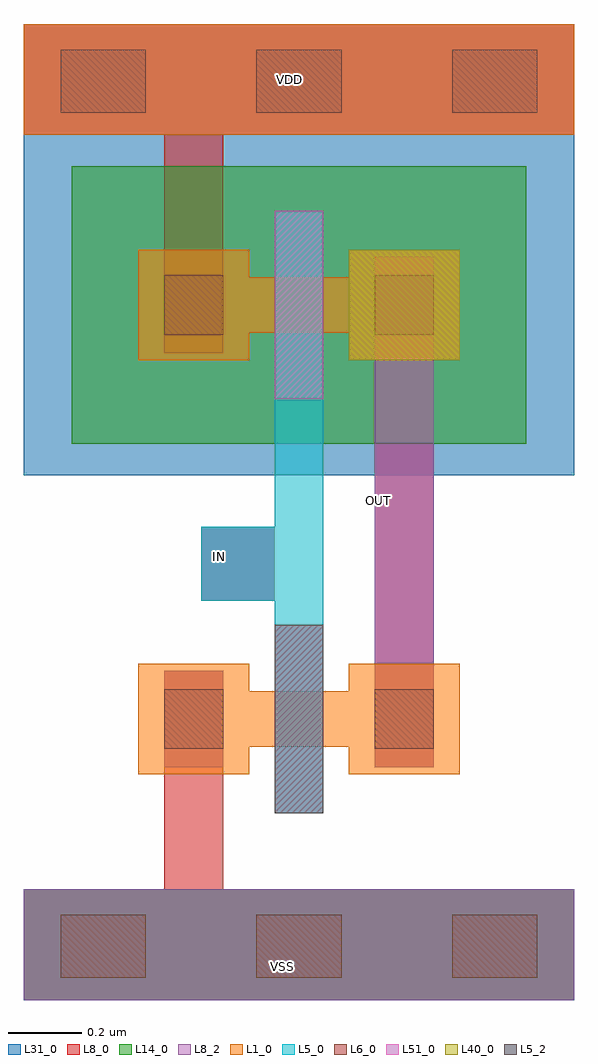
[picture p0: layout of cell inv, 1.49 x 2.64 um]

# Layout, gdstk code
import gdstk
lib = gdstk.Library(unit=1e-6, precision=5e-09)
def R(c, l, rs):  # rectangles x0, y0, x1, y1
    for r in rs: c.add(gdstk.rectangle(r[:2], r[2:], *l))
def A(c, l, x, y, w, h, nx, ny, dx, dy):  # array of equal rectangles
    R(c, l, [(x+i*dx, y+j*dy, x+i*dx+w, y+j*dy+h) for i in range(nx) for j in range(ny)])
L1_0 = (1, 0)
L5_0 = (5, 0)
L5_2 = (5, 2)
L6_0 = (6, 0)
L8_0 = (8, 0)
L8_2 = (8, 2)
L14_0 = (14, 0)
L31_0 = (31, 0)
L40_0 = (40, 0)
L51_0 = (51, 0)

nmos = lib.new_cell('nmos')
R(nmos, L1_0, [(0,0,0.3,0.3), (0.57,0,0.87,0.3), (0,0.075,0.87,0.225)])
R(nmos, L5_0, [(0.37,-0.105,0.5,0.405)])
R(nmos, L5_2, [(0.37,-0.105,0.5,0.405)])
R(nmos, L6_0, [(0.07,0.07,0.23,0.23), (0.64,0.07,0.8,0.23)])
R(nmos, L8_0, [(0.07,0.02,0.23,0.28), (0.64,0.02,0.8,0.28)])
R(nmos, L8_2, [(0.07,0.02,0.23,0.28), (0.64,0.02,0.8,0.28)])
R(nmos, L51_0, [(0.37,-0.105,0.5,0.405)])
nmos.add(gdstk.Label('nmos', (0.435,0.15), layer=63, texttype=0))
nmos.add(gdstk.Label('nmos', (0.435,0.15), layer=51, texttype=0))

pmos_1 = lib.new_cell('pmos$1')
R(pmos_1, L1_0, [(0,0,0.3,0.3), (0.57,0,0.87,0.3), (0,0.075,0.87,0.225)])
R(pmos_1, L5_0, [(0.37,-0.105,0.5,0.405), (0.37,-0.105,0.5,0.405)])
R(pmos_1, L6_0, [(0.07,0.07,0.23,0.23), (0.64,0.07,0.8,0.23)])
R(pmos_1, L8_0, [(0.07,0.02,0.23,0.28), (0.07,0.02,0.23,0.28), (0.64,0.02,0.8,0.28), (0.64,0.02,0.8,0.28)])
R(pmos_1, L14_0, [(-0.18,-0.225,1.05,0.525)])
R(pmos_1, L31_0, [(-0.31,-0.31,1.18,0.61)])
R(pmos_1, L40_0, [(0.57,0,0.87,0.3)])
R(pmos_1, L51_0, [(0.37,-0.105,0.5,0.405)])
pmos_1.add(gdstk.Label('pmos', (0.435,0.15), layer=63, texttype=0))
pmos_1.add(gdstk.Label('pmos', (0.435,0.15), layer=51, texttype=0))

inv = lib.new_cell('inv')
R(inv, L1_0, [(1.18,1.76,2.67,2.06)])
R(inv, L5_0, [(1.86,-0.075,1.99,1.555), (1.66,0.5,1.86,0.7)])
A(inv, L6_0, 1.28, -0.52, 0.23, 0.17, 3, 2, 0.53, 2.34)
R(inv, L8_0, [(1.18,-0.58,2.67,-0.28), (1.56,-0.58,1.72,0.31), (2.13,0.05,2.29,1.43), (1.66,0.5,1.86,0.7), (1.56,1.17,1.72,2.06), (1.18,1.76,2.67,2.06)])
R(inv, L8_2, [(1.18,-0.58,2.67,-0.28), (2.13,0.05,2.29,1.43), (1.66,0.5,1.86,0.7), (1.18,1.76,2.67,2.06)])
R(inv, L14_0, [(1.18,-0.58,2.67,-0.28)])
R(inv, L31_0, [(1.18,1.76,2.67,2.06)])
inv.add(gdstk.Reference(nmos, (1.49,0.03)))
inv.add(gdstk.Reference(pmos_1, (1.49,1.15)))
inv.add(gdstk.Label('IN', (1.71,0.62), layer=8, texttype=2))
inv.add(gdstk.Label('VSS', (1.88,-0.49), layer=8, texttype=2))
inv.add(gdstk.Label('OUT', (2.14,0.77), layer=8, texttype=25))
inv.add(gdstk.Label('VDD', (1.9,1.91), layer=8, texttype=25))

lib.write_gds('inv.gds')
